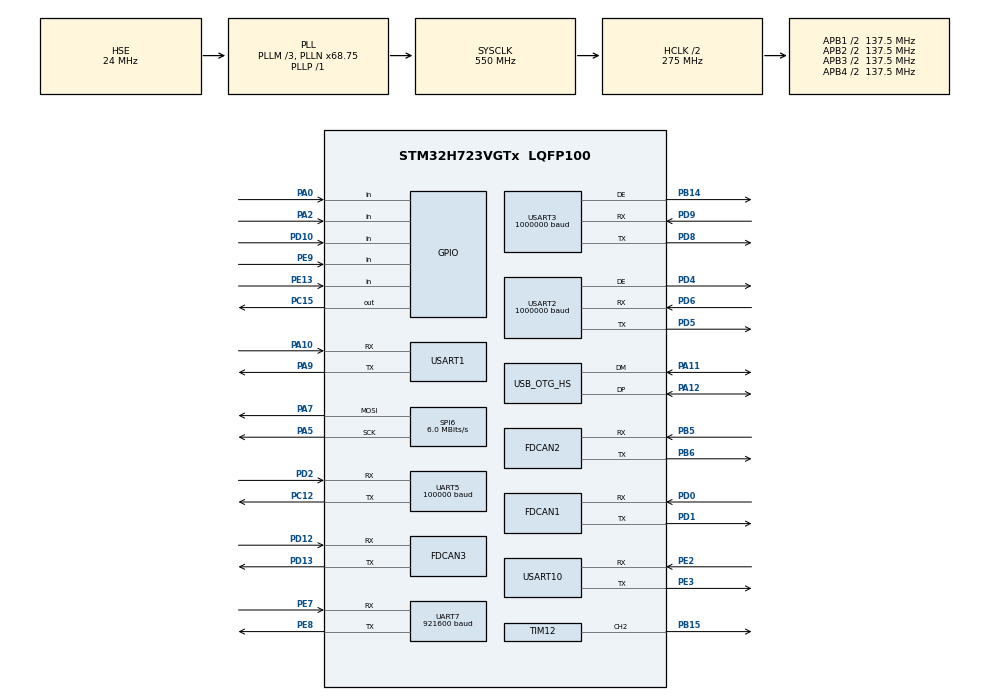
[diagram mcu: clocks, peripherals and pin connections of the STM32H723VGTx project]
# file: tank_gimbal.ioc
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CORTEX_M7.CPU_ICache=Enabled
CORTEX_M7.Enable_Spec=MPU_REGION_ENABLE
CORTEX_M7.MPU_Control=__NULL
CORTEX_M7.default_mode_Activation=1
Dma.Request0=UART5_RX
Dma.Request1=UART7_RX
Dma.Request10=USART3_TX
Dma.Request2=UART7_TX
Dma.Request3=USART1_RX
Dma.Request4=USART1_TX
Dma.Request5=USART10_RX
Dma.Request6=USART10_TX
Dma.Request7=USART2_RX
Dma.Request8=USART2_TX
Dma.Request9=USART3_RX
Dma.UART5_RX.0.Direction=DMA_PERIPH_TO_MEMORY
Dma.UART5_RX.0.EventEnable=DISABLE
Dma.UART5_RX.0.FIFOMode=DMA_FIFOMODE_DISABLE
Dma.UART5_RX.0.Instance=DMA1_Stream0
Dma.UART5_RX.0.MemDataAlignment=DMA_MDATAALIGN_BYTE
Dma.UART5_RX.0.MemInc=DMA_MINC_ENABLE
Dma.UART5_RX.0.Mode=DMA_NORMAL
Dma.UART5_RX.0.PeriphDataAlignment=DMA_PDATAALIGN_BYTE
Dma.UART5_RX.0.PeriphInc=DMA_PINC_DISABLE
Dma.UART5_RX.0.Polarity=HAL_DMAMUX_REQ_GEN_RISING
Dma.UART5_RX.0.Priority=DMA_PRIORITY_LOW
Dma.UART5_RX.0.RequestNumber=1
Dma.UART5_RX.0.SignalID=NONE
Dma.UART5_RX.0.SyncEnable=DISABLE
Dma.UART5_RX.0.SyncPolarity=HAL_DMAMUX_SYNC_NO_EVENT
Dma.UART5_RX.0.SyncRequestNumber=1
Dma.UART5_RX.0.SyncSignalID=NONE
Dma.UART7_RX.1.Direction=DMA_PERIPH_TO_MEMORY
Dma.UART7_RX.1.EventEnable=DISABLE
Dma.UART7_RX.1.FIFOMode=DMA_FIFOMODE_DISABLE
Dma.UART7_RX.1.Instance=DMA1_Stream1
Dma.UART7_RX.1.MemDataAlignment=DMA_MDATAALIGN_BYTE
Dma.UART7_RX.1.MemInc=DMA_MINC_ENABLE
Dma.UART7_RX.1.Mode=DMA_CIRCULAR
Dma.UART7_RX.1.PeriphDataAlignment=DMA_PDATAALIGN_BYTE
Dma.UART7_RX.1.PeriphInc=DMA_PINC_DISABLE
Dma.UART7_RX.1.Polarity=HAL_DMAMUX_REQ_GEN_RISING
Dma.UART7_RX.1.Priority=DMA_PRIORITY_LOW
Dma.UART7_RX.1.RequestNumber=1
Dma.UART7_RX.1.SignalID=NONE
Dma.UART7_RX.1.SyncEnable=DISABLE
Dma.UART7_RX.1.SyncPolarity=HAL_DMAMUX_SYNC_NO_EVENT
Dma.UART7_RX.1.SyncRequestNumber=1
Dma.UART7_RX.1.SyncSignalID=NONE
Dma.UART7_TX.2.Direction=DMA_MEMORY_TO_PERIPH
Dma.UART7_TX.2.EventEnable=DISABLE
Dma.UART7_TX.2.FIFOMode=DMA_FIFOMODE_DISABLE
Dma.UART7_TX.2.Instance=DMA1_Stream2
Dma.UART7_TX.2.MemDataAlignment=DMA_MDATAALIGN_BYTE
Dma.UART7_TX.2.MemInc=DMA_MINC_ENABLE
Dma.UART7_TX.2.Mode=DMA_NORMAL
Dma.UART7_TX.2.PeriphDataAlignment=DMA_PDATAALIGN_BYTE
Dma.UART7_TX.2.PeriphInc=DMA_PINC_DISABLE
Dma.UART7_TX.2.Polarity=HAL_DMAMUX_REQ_GEN_RISING
Dma.UART7_TX.2.Priority=DMA_PRIORITY_LOW
Dma.UART7_TX.2.RequestNumber=1
Dma.UART7_TX.2.SignalID=NONE
Dma.UART7_TX.2.SyncEnable=DISABLE
Dma.UART7_TX.2.SyncPolarity=HAL_DMAMUX_SYNC_NO_EVENT
Dma.UART7_TX.2.SyncRequestNumber=1
Dma.UART7_TX.2.SyncSignalID=NONE
Dma.USART10_RX.5.Direction=DMA_PERIPH_TO_MEMORY
Dma.USART10_RX.5.EventEnable=DISABLE
Dma.USART10_RX.5.FIFOMode=DMA_FIFOMODE_DISABLE
Dma.USART10_RX.5.Instance=DMA1_Stream5
Dma.USART10_RX.5.MemDataAlignment=DMA_MDATAALIGN_BYTE
Dma.USART10_RX.5.MemInc=DMA_MINC_ENABLE
Dma.USART10_RX.5.Mode=DMA_NORMAL
Dma.USART10_RX.5.PeriphDataAlignment=DMA_PDATAALIGN_BYTE
Dma.USART10_RX.5.PeriphInc=DMA_PINC_DISABLE
Dma.USART10_RX.5.Polarity=HAL_DMAMUX_REQ_GEN_RISING
Dma.USART10_RX.5.Priority=DMA_PRIORITY_LOW
Dma.USART10_RX.5.RequestNumber=1
Dma.USART10_RX.5.SignalID=NONE
Dma.USART10_RX.5.SyncEnable=DISABLE
Dma.USART10_RX.5.SyncPolarity=HAL_DMAMUX_SYNC_NO_EVENT
Dma.USART10_RX.5.SyncRequestNumber=1
Dma.USART10_RX.5.SyncSignalID=NONE
Dma.USART10_TX.6.Direction=DMA_MEMORY_TO_PERIPH
Dma.USART10_TX.6.EventEnable=DISABLE
Dma.USART10_TX.6.FIFOMode=DMA_FIFOMODE_DISABLE
Dma.USART10_TX.6.Instance=DMA1_Stream6
Dma.USART10_TX.6.MemDataAlignment=DMA_MDATAALIGN_BYTE
Dma.USART10_TX.6.MemInc=DMA_MINC_ENABLE
Dma.USART10_TX.6.Mode=DMA_NORMAL
Dma.USART10_TX.6.PeriphDataAlignment=DMA_PDATAALIGN_BYTE
Dma.USART10_TX.6.PeriphInc=DMA_PINC_DISABLE
Dma.USART10_TX.6.Polarity=HAL_DMAMUX_REQ_GEN_RISING
Dma.USART10_TX.6.Priority=DMA_PRIORITY_LOW
Dma.USART10_TX.6.RequestNumber=1
Dma.USART10_TX.6.SignalID=NONE
Dma.USART10_TX.6.SyncEnable=DISABLE
Dma.USART10_TX.6.SyncPolarity=HAL_DMAMUX_SYNC_NO_EVENT
Dma.USART10_TX.6.SyncRequestNumber=1
Dma.USART10_TX.6.SyncSignalID=NONE
Dma.USART1_RX.3.Direction=DMA_PERIPH_TO_MEMORY
Dma.USART1_RX.3.EventEnable=DISABLE
Dma.USART1_RX.3.FIFOMode=DMA_FIFOMODE_DISABLE
Dma.USART1_RX.3.Instance=DMA1_Stream3
Dma.USART1_RX.3.MemDataAlignment=DMA_MDATAALIGN_BYTE
Dma.USART1_RX.3.MemInc=DMA_MINC_ENABLE
Dma.USART1_RX.3.Mode=DMA_NORMAL
Dma.USART1_RX.3.PeriphDataAlignment=DMA_PDATAALIGN_BYTE
Dma.USART1_RX.3.PeriphInc=DMA_PINC_DISABLE
Dma.USART1_RX.3.Polarity=HAL_DMAMUX_REQ_GEN_RISING
Dma.USART1_RX.3.Priority=DMA_PRIORITY_LOW
Dma.USART1_RX.3.RequestNumber=1
Dma.USART1_RX.3.SignalID=NONE
Dma.USART1_RX.3.SyncEnable=DISABLE
Dma.USART1_RX.3.SyncPolarity=HAL_DMAMUX_SYNC_NO_EVENT
Dma.USART1_RX.3.SyncRequestNumber=1
Dma.USART1_RX.3.SyncSignalID=NONE
Dma.USART1_TX.4.Direction=DMA_MEMORY_TO_PERIPH
Dma.USART1_TX.4.EventEnable=DISABLE
Dma.USART1_TX.4.FIFOMode=DMA_FIFOMODE_DISABLE
Dma.USART1_TX.4.Instance=DMA1_Stream4
Dma.USART1_TX.4.MemDataAlignment=DMA_MDATAALIGN_BYTE
Dma.USART1_TX.4.MemInc=DMA_MINC_ENABLE
Dma.USART1_TX.4.Mode=DMA_NORMAL
Dma.USART1_TX.4.PeriphDataAlignment=DMA_PDATAALIGN_BYTE
Dma.USART1_TX.4.PeriphInc=DMA_PINC_DISABLE
Dma.USART1_TX.4.Polarity=HAL_DMAMUX_REQ_GEN_RISING
Dma.USART1_TX.4.Priority=DMA_PRIORITY_LOW
Dma.USART1_TX.4.RequestNumber=1
Dma.USART1_TX.4.SignalID=NONE
Dma.USART1_TX.4.SyncEnable=DISABLE
Dma.USART1_TX.4.SyncPolarity=HAL_DMAMUX_SYNC_NO_EVENT
Dma.USART1_TX.4.SyncRequestNumber=1
Dma.USART1_TX.4.SyncSignalID=NONE
Dma.USART2_RX.7.Direction=DMA_PERIPH_TO_MEMORY
Dma.USART2_RX.7.EventEnable=DISABLE
Dma.USART2_RX.7.FIFOMode=DMA_FIFOMODE_DISABLE
Dma.USART2_RX.7.Instance=DMA1_Stream7
Dma.USART2_RX.7.MemDataAlignment=DMA_MDATAALIGN_BYTE
Dma.USART2_RX.7.MemInc=DMA_MINC_ENABLE
Dma.USART2_RX.7.Mode=DMA_NORMAL
Dma.USART2_RX.7.PeriphDataAlignment=DMA_PDATAALIGN_BYTE
Dma.USART2_RX.7.PeriphInc=DMA_PINC_DISABLE
Dma.USART2_RX.7.Polarity=HAL_DMAMUX_REQ_GEN_RISING
Dma.USART2_RX.7.Priority=DMA_PRIORITY_LOW
Dma.USART2_RX.7.RequestNumber=1
Dma.USART2_RX.7.SignalID=NONE
Dma.USART2_RX.7.SyncEnable=DISABLE
Dma.USART2_RX.7.SyncPolarity=HAL_DMAMUX_SYNC_NO_EVENT
Dma.USART2_RX.7.SyncRequestNumber=1
Dma.USART2_RX.7.SyncSignalID=NONE
Dma.USART2_TX.8.Direction=DMA_MEMORY_TO_PERIPH
Dma.USART2_TX.8.EventEnable=DISABLE
Dma.USART2_TX.8.FIFOMode=DMA_FIFOMODE_DISABLE
Dma.USART2_TX.8.Instance=DMA2_Stream0
Dma.USART2_TX.8.MemDataAlignment=DMA_MDATAALIGN_BYTE
Dma.USART2_TX.8.MemInc=DMA_MINC_ENABLE
Dma.USART2_TX.8.Mode=DMA_NORMAL
Dma.USART2_TX.8.PeriphDataAlignment=DMA_PDATAALIGN_BYTE
Dma.USART2_TX.8.PeriphInc=DMA_PINC_DISABLE
Dma.USART2_TX.8.Polarity=HAL_DMAMUX_REQ_GEN_RISING
Dma.USART2_TX.8.Priority=DMA_PRIORITY_LOW
Dma.USART2_TX.8.RequestNumber=1
Dma.USART2_TX.8.SignalID=NONE
Dma.USART2_TX.8.SyncEnable=DISABLE
Dma.USART2_TX.8.SyncPolarity=HAL_DMAMUX_SYNC_NO_EVENT
Dma.USART2_TX.8.SyncRequestNumber=1
Dma.USART2_TX.8.SyncSignalID=NONE
Dma.USART3_RX.9.Direction=DMA_PERIPH_TO_MEMORY
Dma.USART3_RX.9.EventEnable=DISABLE
Dma.USART3_RX.9.FIFOMode=DMA_FIFOMODE_DISABLE
Dma.USART3_RX.9.Instance=DMA2_Stream1
Dma.USART3_RX.9.MemDataAlignment=DMA_MDATAALIGN_BYTE
Dma.USART3_RX.9.MemInc=DMA_MINC_ENABLE
Dma.USART3_RX.9.Mode=DMA_NORMAL
Dma.USART3_RX.9.PeriphDataAlignment=DMA_PDATAALIGN_BYTE
Dma.USART3_RX.9.PeriphInc=DMA_PINC_DISABLE
Dma.USART3_RX.9.Polarity=HAL_DMAMUX_REQ_GEN_RISING
Dma.USART3_RX.9.Priority=DMA_PRIORITY_LOW
Dma.USART3_RX.9.RequestNumber=1
Dma.USART3_RX.9.SignalID=NONE
Dma.USART3_RX.9.SyncEnable=DISABLE
Dma.USART3_RX.9.SyncPolarity=HAL_DMAMUX_SYNC_NO_EVENT
Dma.USART3_RX.9.SyncRequestNumber=1
Dma.USART3_RX.9.SyncSignalID=NONE
Dma.USART3_TX.10.Direction=DMA_MEMORY_TO_PERIPH
Dma.USART3_TX.10.EventEnable=DISABLE
Dma.USART3_TX.10.FIFOMode=DMA_FIFOMODE_DISABLE
Dma.USART3_TX.10.Instance=DMA2_Stream2
Dma.USART3_TX.10.MemDataAlignment=DMA_MDATAALIGN_BYTE
Dma.USART3_TX.10.MemInc=DMA_MINC_ENABLE
Dma.USART3_TX.10.Mode=DMA_NORMAL
Dma.USART3_TX.10.PeriphDataAlignment=DMA_PDATAALIGN_BYTE
Dma.USART3_TX.10.PeriphInc=DMA_PINC_DISABLE
Dma.USART3_TX.10.Polarity=HAL_DMAMUX_REQ_GEN_RISING
Dma.USART3_TX.10.Priority=DMA_PRIORITY_LOW
Dma.USART3_TX.10.RequestNumber=1
Dma.USART3_TX.10.SignalID=NONE
Dma.USART3_TX.10.SyncEnable=DISABLE
Dma.USART3_TX.10.SyncPolarity=HAL_DMAMUX_SYNC_NO_EVENT
Dma.USART3_TX.10.SyncRequestNumber=1
Dma.USART3_TX.10.SyncSignalID=NONE
FDCAN1.AutoRetransmission=ENABLE
FDCAN1.CalculateBaudRateNominal=1000000
FDCAN1.CalculateTimeBitNominal=1000
FDCAN1.CalculateTimeQuantumNominal=25.0
FDCAN1.DataPrescaler=3
FDCAN1.DataSyncJumpWidth=10
FDCAN1.DataTimeSeg1=29
FDCAN1.DataTimeSeg2=10
FDCAN1.NominalPrescaler=3
FDCAN1.NominalSyncJumpWidth=10
FDCAN1.NominalTimeSeg1=29
FDCAN1.NominalTimeSeg2=10
FDCAN1.RxFifo0ElmtsNbr=16
FDCAN1.StdFiltersNbr=1
FDCAN1.TxFifoQueueElmtsNbr=8
FDCAN2.AutoRetransmission=ENABLE
FDCAN2.CalculateBaudRateNominal=1000000
FDCAN2.CalculateTimeBitNominal=1000
FDCAN2.CalculateTimeQuantumNominal=25.0
FDCAN2.DataPrescaler=3
FDCAN2.DataSyncJumpWidth=10
FDCAN2.DataTimeSeg1=29
FDCAN2.DataTimeSeg2=10
FDCAN2.MessageRAMOffset=853
FDCAN2.NominalPrescaler=3
FDCAN2.NominalSyncJumpWidth=10
FDCAN2.NominalTimeSeg1=29
FDCAN2.NominalTimeSeg2=10
FDCAN2.RxFifo0ElmtsNbr=16
FDCAN2.StdFiltersNbr=1
FDCAN2.TxFifoQueueElmtsNbr=8
FDCAN3.AutoRetransmission=ENABLE
FDCAN3.CalculateBaudRateNominal=1000000
FDCAN3.CalculateTimeBitNominal=1000
FDCAN3.CalculateTimeQuantumNominal=25.0
FDCAN3.DataPrescaler=3
FDCAN3.DataSyncJumpWidth=10
FDCAN3.DataTimeSeg1=29
FDCAN3.DataTimeSeg2=10
FDCAN3.MessageRAMOffset=1706
FDCAN3.NominalPrescaler=3
FDCAN3.NominalSyncJumpWidth=10
FDCAN3.NominalTimeSeg1=29
FDCAN3.NominalTimeSeg2=10
FDCAN3.RxFifo0ElmtsNbr=16
FDCAN3.StdFiltersNbr=1
FDCAN3.TxFifoQueueElmtsNbr=8
FREERTOS.Tasks01=defaultTask,24,128,StartDefaultTask,Default,NULL,Dynamic,NULL,NULL
FREERTOS.configTOTAL_HEAP_SIZE=32768
IWDG1.Prescaler=IWDG_PRESCALER_32
IWDG1.Reload=999
Mcu.Family=STM32H7
Mcu.Name=STM32H723VGTx
Mcu.Package=LQFP100
NVIC.DMA1_Stream0_IRQn=true\:5\:0\:false\:false\:true\:true\:false\:true\:true
NVIC.DMA1_Stream1_IRQn=true\:5\:0\:false\:false\:true\:true\:false\:true\:true
NVIC.DMA1_Stream2_IRQn=true\:5\:0\:false\:false\:true\:true\:false\:true\:true
NVIC.DMA1_Stream3_IRQn=true\:5\:0\:false\:false\:true\:true\:false\:true\:true
NVIC.DMA1_Stream4_IRQn=true\:5\:0\:false\:false\:true\:true\:false\:true\:true
NVIC.DMA1_Stream5_IRQn=true\:5\:0\:false\:false\:true\:true\:false\:true\:true
NVIC.DMA1_Stream6_IRQn=true\:5\:0\:false\:false\:true\:true\:false\:true\:true
NVIC.DMA1_Stream7_IRQn=true\:5\:0\:false\:false\:true\:true\:false\:true\:true
NVIC.DMA2_Stream0_IRQn=true\:5\:0\:false\:false\:true\:true\:false\:true\:true
NVIC.DMA2_Stream1_IRQn=true\:5\:0\:false\:false\:true\:true\:false\:true\:true
NVIC.DMA2_Stream2_IRQn=true\:5\:0\:false\:false\:true\:true\:false\:true\:true
NVIC.FDCAN1_IT0_IRQn=true\:5\:0\:false\:false\:true\:true\:true\:true\:true
NVIC.FDCAN1_IT1_IRQn=true\:5\:0\:false\:false\:true\:true\:true\:true\:true
NVIC.FDCAN2_IT0_IRQn=true\:5\:0\:false\:false\:true\:true\:true\:true\:true
NVIC.FDCAN2_IT1_IRQn=true\:5\:0\:false\:false\:true\:true\:true\:true\:true
NVIC.FDCAN3_IT0_IRQn=true\:5\:0\:false\:false\:true\:true\:true\:true\:true
NVIC.FDCAN3_IT1_IRQn=true\:5\:0\:false\:false\:true\:true\:true\:true\:true
NVIC.OTG_HS_IRQn=true\:5\:0\:false\:false\:true\:true\:false\:true\:true
NVIC.PriorityGroup=NVIC_PRIORITYGROUP_4
NVIC.SPI6_IRQn=true\:5\:0\:false\:false\:true\:true\:true\:true\:true
NVIC.TIM23_IRQn=true\:15\:0\:false\:false\:true\:false\:false\:true\:true
NVIC.TimeBase=TIM23_IRQn
NVIC.TimeBaseIP=TIM23
NVIC.UART5_IRQn=true\:5\:0\:false\:false\:true\:true\:true\:true\:true
NVIC.UART7_IRQn=true\:5\:0\:false\:false\:true\:true\:true\:true\:true
NVIC.USART10_IRQn=true\:5\:0\:false\:false\:true\:true\:true\:true\:true
NVIC.USART1_IRQn=true\:5\:0\:false\:false\:true\:true\:true\:true\:true
NVIC.USART2_IRQn=true\:5\:0\:false\:false\:true\:true\:true\:true\:true
NVIC.USART3_IRQn=true\:5\:0\:false\:false\:true\:true\:true\:true\:true
PA0.GPIO_PuPd=GPIO_PULLUP
PA0.Signal=GPIO_Input
PA10.Mode=Asynchronous
PA10.Signal=USART1_RX
PA11.Mode=Device_Only_FS
PA11.Signal=USB_OTG_HS_DM
PA12.Mode=Device_Only_FS
PA12.Signal=USB_OTG_HS_DP
PA13(JTMS/SWDIO).Mode=Serial_Wire
PA13(JTMS/SWDIO).Signal=DEBUG_JTMS-SWDIO
PA14(JTCK/SWCLK).Mode=Serial_Wire
PA14(JTCK/SWCLK).Signal=DEBUG_JTCK-SWCLK
PA2.GPIO_PuPd=GPIO_PULLUP
PA2.Signal=GPIO_Input
PA5.Mode=TX_Only_Simplex_Unidirect_Master
PA5.Signal=SPI6_SCK
PA7.GPIO_PuPd=GPIO_PULLDOWN
PA7.GPIO_Speed=GPIO_SPEED_FREQ_VERY_HIGH
PA7.Mode=TX_Only_Simplex_Unidirect_Master
PA7.Signal=SPI6_MOSI
PA9.Mode=Asynchronous
PA9.Signal=USART1_TX
PB14.Mode=Hardware Flow Control (RS485)
PB14.Signal=USART3_DE
PB15.Signal=S_TIM12_CH2
PB5.Mode=FDCAN_Activate
PB5.Signal=FDCAN2_RX
PB6.Mode=FDCAN_Activate
PB6.Signal=FDCAN2_TX
PC12.Mode=Asynchronous
PC12.Signal=UART5_TX
PC15-OSC32_OUT.PinState=GPIO_PIN_SET
PC15-OSC32_OUT.Signal=GPIO_Output
PD0.Mode=FDCAN_Activate
PD0.Signal=FDCAN1_RX
PD1.Mode=FDCAN_Activate
PD1.Signal=FDCAN1_TX
PD10.GPIO_PuPd=GPIO_PULLUP
PD10.Signal=GPIO_Input
PD12.Mode=FDCAN_Activate
PD12.Signal=FDCAN3_RX
PD13.Mode=FDCAN_Activate
PD13.Signal=FDCAN3_TX
PD2.Mode=Asynchronous
PD2.Signal=UART5_RX
PD4.Mode=Hardware Flow Control (RS485)
PD4.Signal=USART2_DE
PD5.Mode=Asynchronous
PD5.Signal=USART2_TX
PD6.Mode=Asynchronous
PD6.Signal=USART2_RX
PD8.Mode=Asynchronous
PD8.Signal=USART3_TX
PD9.Mode=Asynchronous
PD9.Signal=USART3_RX
PE13.GPIO_PuPd=GPIO_PULLUP
PE13.Signal=GPIO_Input
PE2.Mode=Asynchronous
PE2.Signal=USART10_RX
PE3.Mode=Asynchronous
PE3.Signal=USART10_TX
PE7.Mode=Asynchronous
PE7.Signal=UART7_RX
PE8.Mode=Asynchronous
PE8.Signal=UART7_TX
PE9.GPIO_PuPd=GPIO_PULLUP
PE9.Signal=GPIO_Input
PH0-OSC_IN.Mode=HSE-External-Oscillator
PH0-OSC_IN.Signal=RCC_OSC_IN
PH1-OSC_OUT.Mode=HSE-External-Oscillator
PH1-OSC_OUT.Signal=RCC_OSC_OUT
ProjectManager.HeapSize=0x20000
ProjectManager.StackSize=0x10000
ProjectManager.TargetToolchain=MDK-ARM V5.32
RCC.ADCFreq_Value=240000000
RCC.APB1Freq_Value=137500000
RCC.APB2Freq_Value=137500000
RCC.APB3Freq_Value=137500000
RCC.APB4Freq_Value=137500000
RCC.CortexFreq_Value=550000000
RCC.D1PPRE=RCC_APB3_DIV2
RCC.D2PPRE1=RCC_APB1_DIV2
RCC.D2PPRE2=RCC_APB2_DIV2
RCC.D3PPRE=RCC_APB4_DIV2
RCC.DIVM1=3
RCC.DIVM2=3
RCC.DIVN1=68
RCC.DIVN2=60
RCC.DIVP1=1
RCC.DIVQ1=4
RCC.DIVQ2=4
RCC.FDCANCLockSelection=RCC_FDCANCLKSOURCE_PLL2
RCC.HCLKFreq_Value=275000000
RCC.HPRE=RCC_HCLK_DIV2
RCC.HSE_VALUE=24000000
RCC.PLLFRACN=6144
RCC.PLLSourceVirtual=RCC_PLLSOURCE_HSE
RCC.SPI6CLockSelection=RCC_SPI6CLKSOURCE_HSE
RCC.SYSCLKFreq_VALUE=550000000
RCC.SYSCLKSource=RCC_SYSCLKSOURCE_PLLCLK
RCC.USBCLockSelection=RCC_USBCLKSOURCE_HSI48
RCC.USBFreq_Value=48000000
SH.S_TIM12_CH2.0=TIM12_CH2,PWM Generation2 CH2
SPI6.BaudRatePrescaler=SPI_BAUDRATEPRESCALER_4
SPI6.CalculateBaudRate=6.0 MBits/s
SPI6.DataSize=SPI_DATASIZE_8BIT
SPI6.Direction=SPI_DIRECTION_2LINES_TXONLY
SPI6.Mode=SPI_MODE_MASTER
SPI6.VirtualType=VM_MASTER
TIM12.Channel-PWM\ Generation2\ CH2=TIM_CHANNEL_2
TIM12.Period=250-1
TIM12.Prescaler=275-1
TIM12.Pulse-PWM\ Generation2\ CH2=0
UART5.BaudRate=100000
UART5.Mode=MODE_TX_RX
UART5.Parity=PARITY_EVEN
UART5.StopBits=UART_STOPBITS_2
UART5.WordLength=WORDLENGTH_9B
UART7.BaudRate=921600
USART1.VirtualMode-Asynchronous=VM_ASYNC
USART10.VirtualMode=VM_ASYNC
USART2.BaudRate=1000000
USART2.VirtualMode-Asynchronous=VM_ASYNC
USART2.VirtualMode-Hardware\ Flow\ Control\ (RS485)=VM_ASYNC
USART3.BaudRate=1000000
USART3.VirtualMode-Asynchronous=VM_ASYNC
USART3.VirtualMode-Hardware\ Flow\ Control\ (RS485)=VM_ASYNC
USB_DEVICE.CLASS_NAME_HS=CDC
USB_DEVICE.VirtualMode=Cdc
USB_DEVICE.VirtualModeHS=Cdc_HS
USB_OTG_HS.VirtualMode-Device_Only_FS=Device_Only_FS
VP_FREERTOS_VS_CMSIS_V2.Mode=CMSIS_V2
VP_IWDG1_VS_IWDG.Mode=IWDG_Activate
VP_MEMORYMAP_VS_MEMORYMAP.Mode=CurAppReg
VP_SYS_VS_tim23.Mode=TIM23
VP_TIM12_VS_ClockSourceINT.Mode=Internal
VP_TIM6_VS_ClockSourceINT.Mode=Enable_Timer
VP_USB_DEVICE_VS_USB_DEVICE_CDC_HS.Mode=CDC_HS
board=custom

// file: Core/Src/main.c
/* USER CODE BEGIN Header */
/**
  ******************************************************************************
  * @file           : main.c
  * @brief          : Main program body
  ******************************************************************************
  * @attention
  *
  * Copyright (c) 2026 STMicroelectronics.
  * All rights reserved.
  *
  * This software is licensed under terms that can be found in the LICENSE file
  * in the root directory of this software component.
  * If no LICENSE file comes with this software, it is provided AS-IS.
  *
  ******************************************************************************
  */
/* USER CODE END Header */
#include "main.h"
#include "cmsis_os.h"
#include "dma.h"
#include "fdcan.h"
#include "iwdg.h"
#include "spi.h"
#include "tim.h"
#include "usart.h"
#include "usb_device.h"
#include "gpio.h"

/* USER CODE BEGIN PV */
volatile uint32_t g_watchdog_reset_detected = 0;
volatile uint32_t g_watchdog_rearm_required = 0;

/* USER CODE END PV */

void SystemClock_Config(void);
void PeriphCommonClock_Config(void);
void MX_FREERTOS_Init(void);

/* USER CODE BEGIN 0 */

/* SPI6 初始化完成后调用，发送一次颜色数据，板载灯保持低亮度绿色。 */
static void Board_LED_Init(void)
{
  /* SPI6 为 6 Mbit/s，WS2812 按 G、R、B 顺序接收。 */
  uint8_t led_tx[256 + 24 + 256] = {0};
  const uint8_t led_grb[3] = {16, 0, 0};
  uint16_t led_index = 256;

  for (uint8_t color = 0; color < 3; ++color)
  {
    for (uint8_t mask = 0x80; mask != 0; mask >>= 1)
    {
      /* 每位约 1.333 us：0 高电平约 0.333 us，1 高电平约 0.833 us。 */
      led_tx[led_index++] = (led_grb[color] & mask) ? 0xF8 : 0xC0;
    }
  }
  /* 帧前、帧后各约 341 us 低电平，用于复位和锁存颜色。 */
  if (HAL_SPI_Transmit(&hspi6, led_tx, sizeof(led_tx), 20) != HAL_OK)
  {
    Error_Handler();
  }
}

/* USER CODE END 0 */

int main(void)
{

  /* Enable the CPU Cache */

  /* Enable I-Cache---------------------------------------------------------*/
  SCB_EnableICache();

  /* MCU Configuration--------------------------------------------------------*/

  /* Reset of all peripherals, Initializes the Flash interface and the Systick. */
  HAL_Init();

  /* USER CODE BEGIN Init */
  g_watchdog_reset_detected = (__HAL_RCC_GET_FLAG(RCC_FLAG_IWDG1RST) != RESET) ? 1U : 0U;
  g_watchdog_rearm_required = g_watchdog_reset_detected;
  __HAL_RCC_CLEAR_RESET_FLAGS();

  /* USER CODE END Init */

  /* Configure the system clock */
  SystemClock_Config();

  /* Configure the peripherals common clocks */
  PeriphCommonClock_Config();

  /* Initialize all configured peripherals */
  MX_GPIO_Init();
  MX_DMA_Init();
  MX_FDCAN1_Init();
  MX_FDCAN2_Init();
  MX_FDCAN3_Init();
  MX_TIM6_Init();
  MX_UART5_Init();
  MX_UART7_Init();
  MX_USART1_UART_Init();
  MX_USART10_UART_Init();
  MX_USART2_UART_Init();
  MX_USART3_UART_Init();
  MX_TIM12_Init();
  MX_SPI6_Init();
  MX_IWDG1_Init();
  /* USER CODE BEGIN 2 */
  Board_LED_Init();

  /* USER CODE END 2 */

  /* Init scheduler */
  osKernelInitialize();  /* Call init function for freertos objects (in cmsis_os2.c) */
  MX_FREERTOS_Init();

  /* Start scheduler */
  osKernelStart();

  /* We should never get here as control is now taken by the scheduler */

  /* Infinite loop */
  while (1)
  {

  }
}

void SystemClock_Config(void)
{
  RCC_OscInitTypeDef RCC_OscInitStruct = {0};
  RCC_ClkInitTypeDef RCC_ClkInitStruct = {0};

  /** Supply configuration update enable
  */
  HAL_PWREx_ConfigSupply(PWR_LDO_SUPPLY);

  /** Configure the main internal regulator output voltage
  */
  __HAL_PWR_VOLTAGESCALING_CONFIG(PWR_REGULATOR_VOLTAGE_SCALE0);

  while(!__HAL_PWR_GET_FLAG(PWR_FLAG_VOSRDY)) {}

  /** Initializes the RCC Oscillators according to the specified parameters
  * in the RCC_OscInitTypeDef structure.
  */
  RCC_OscInitStruct.OscillatorType = RCC_OSCILLATORTYPE_HSI48|RCC_OSCILLATORTYPE_LSI
                              |RCC_OSCILLATORTYPE_HSE;
  RCC_OscInitStruct.HSEState = RCC_HSE_ON;
  RCC_OscInitStruct.LSIState = RCC_LSI_ON;
  RCC_OscInitStruct.HSI48State = RCC_HSI48_ON;
  RCC_OscInitStruct.PLL.PLLState = RCC_PLL_ON;
  RCC_OscInitStruct.PLL.PLLSource = RCC_PLLSOURCE_HSE;
  RCC_OscInitStruct.PLL.PLLM = 3;
  RCC_OscInitStruct.PLL.PLLN = 68;
  RCC_OscInitStruct.PLL.PLLP = 1;
  RCC_OscInitStruct.PLL.PLLQ = 4;
  RCC_OscInitStruct.PLL.PLLR = 2;
  RCC_OscInitStruct.PLL.PLLRGE = RCC_PLL1VCIRANGE_3;
  RCC_OscInitStruct.PLL.PLLVCOSEL = RCC_PLL1VCOWIDE;
  RCC_OscInitStruct.PLL.PLLFRACN = 6144;
  if (HAL_RCC_OscConfig(&RCC_OscInitStruct) != HAL_OK)
  {
    Error_Handler();
  }

  /** Initializes the CPU, AHB and APB buses clocks
  */
  RCC_ClkInitStruct.ClockType = RCC_CLOCKTYPE_HCLK|RCC_CLOCKTYPE_SYSCLK
                              |RCC_CLOCKTYPE_PCLK1|RCC_CLOCKTYPE_PCLK2
                              |RCC_CLOCKTYPE_D3PCLK1|RCC_CLOCKTYPE_D1PCLK1;
  RCC_ClkInitStruct.SYSCLKSource = RCC_SYSCLKSOURCE_PLLCLK;
  RCC_ClkInitStruct.SYSCLKDivider = RCC_SYSCLK_DIV1;
  RCC_ClkInitStruct.AHBCLKDivider = RCC_HCLK_DIV2;
  RCC_ClkInitStruct.APB3CLKDivider = RCC_APB3_DIV2;
  RCC_ClkInitStruct.APB1CLKDivider = RCC_APB1_DIV2;
  RCC_ClkInitStruct.APB2CLKDivider = RCC_APB2_DIV2;
  RCC_ClkInitStruct.APB4CLKDivider = RCC_APB4_DIV2;

  if (HAL_RCC_ClockConfig(&RCC_ClkInitStruct, FLASH_LATENCY_3) != HAL_OK)
  {
    Error_Handler();
  }
}

void PeriphCommonClock_Config(void)
{
  RCC_PeriphCLKInitTypeDef PeriphClkInitStruct = {0};

  /** Initializes the peripherals clock
  */
  PeriphClkInitStruct.PeriphClockSelection = RCC_PERIPHCLK_FDCAN;
  PeriphClkInitStruct.PLL2.PLL2M = 3;
  PeriphClkInitStruct.PLL2.PLL2N = 60;
  PeriphClkInitStruct.PLL2.PLL2P = 2;
  PeriphClkInitStruct.PLL2.PLL2Q = 4;
  PeriphClkInitStruct.PLL2.PLL2R = 2;
  PeriphClkInitStruct.PLL2.PLL2RGE = RCC_PLL2VCIRANGE_3;
  PeriphClkInitStruct.PLL2.PLL2VCOSEL = RCC_PLL2VCOWIDE;
  PeriphClkInitStruct.PLL2.PLL2FRACN = 0;
  PeriphClkInitStruct.FdcanClockSelection = RCC_FDCANCLKSOURCE_PLL2;
  if (HAL_RCCEx_PeriphCLKConfig(&PeriphClkInitStruct) != HAL_OK)
  {
    Error_Handler();
  }
}

void HAL_TIM_PeriodElapsedCallback(TIM_HandleTypeDef *htim)
{
  if (htim->Instance == TIM23)
  {
    HAL_IncTick();
  }
}

void Error_Handler(void)
{
  __disable_irq();
  while (1)
  {
  }
}

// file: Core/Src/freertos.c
/* USER CODE BEGIN Header */
/**
  ******************************************************************************
  * File Name          : freertos.c
  * Description        : Code for freertos applications
  ******************************************************************************
  * @attention
  *
  * Copyright (c) 2026 STMicroelectronics.
  * All rights reserved.
  *
  * This software is licensed under terms that can be found in the LICENSE file
  * in the root directory of this software component.
  * If no LICENSE file comes with this software, it is provided AS-IS.
  *
  ******************************************************************************
  */
/* USER CODE END Header */

#include "FreeRTOS.h"
#include "task.h"
#include "main.h"
#include "cmsis_os.h"

/* USER CODE BEGIN Includes */
#include "can_send_task.hpp"
#include "gimbal_task.hpp"
#include "remote_control_task.hpp"
#include "gantry_task.hpp"
#include "usb_device.h"
#include "watchdog_heartbeat.h"
#include "iwdg.h"
/* USER CODE END Includes */

/* USER CODE BEGIN PD */

/***************************
 * 看门狗管理任务约每 30 ms 检查一次。
管理任务开始运行后，最多给关键任务 3 秒启动时间。
进入正常监控后，任一心跳连续约 200 ms 没有推进，就判定异常。
 */
#define WATCHDOG_CHECK_PERIOD_MS 30U
#define WATCHDOG_STARTUP_TIMEOUT_MS 3000U
#define WATCHDOG_HEARTBEAT_TIMEOUT_MS 200U

/* USER CODE END PD */

/* USER CODE BEGIN Variables */
volatile uint32_t g_watchdog_heartbeats[WATCHDOG_TASK_COUNT] = {0};

/* USER CODE END Variables */
/* Definitions for defaultTask */
osThreadId_t defaultTaskHandle;
const osThreadAttr_t defaultTask_attributes = {
  .name = "defaultTask",
  .stack_size = 128 * 4,
  .priority = (osPriority_t) osPriorityNormal,
};

/* USER CODE BEGIN FunctionPrototypes */
TaskHandle_t xRemoteHandle;
TaskHandle_t xCanSendHandle;
TaskHandle_t xGimbalHandle;
TaskHandle_t xGantryHandle;

static void watchdog_task(void *argument);

extern void MX_USB_DEVICE_Init(void);

/* USER CODE END FunctionPrototypes */

void StartDefaultTask(void *argument);

extern void MX_USB_DEVICE_Init(void);
void MX_FREERTOS_Init(void); /* (MISRA C 2004 rule 8.1) */

void MX_FREERTOS_Init(void) {

  /* Create the thread(s) */
  /* creation of defaultTask */
  defaultTaskHandle = osThreadNew(StartDefaultTask, NULL, &defaultTask_attributes);

  /* USER CODE BEGIN RTOS_THREADS */
  /* add threads, ... */
  /* USB is initialized by defaultTask after the scheduler starts. */
  if (defaultTaskHandle == NULL ||
      xTaskCreate(can_send_task, "CAN_Send_Task", 2048, NULL, osPriorityAboveNormal+2, &xCanSendHandle) != pdPASS ||
      xTaskCreate(gimbal_task, "Gimbal_Task", 1024, NULL, osPriorityAboveNormal+1, &xGimbalHandle) != pdPASS ||
      xTaskCreate(remote_control_task, "Remote_Control_Task", 512, NULL, osPriorityAboveNormal, &xRemoteHandle) != pdPASS ||
      xTaskCreate(gantry_task, "Gantry_Task", 128, NULL, osPriorityAboveNormal, &xGantryHandle) != pdPASS ||
      xTaskCreate(watchdog_task, "Watchdog_Task", 128, NULL, osPriorityAboveNormal+3, NULL) != pdPASS)
  {
    Error_Handler();
  }

  /* USER CODE END RTOS_THREADS */

}

void StartDefaultTask(void *argument)
{
  /* init code for USB_DEVICE */
  MX_USB_DEVICE_Init();
  /* USER CODE BEGIN StartDefaultTask */
  /* Infinite loop */
  for(;;)
  {
    osThreadExit();
  }
  /* USER CODE END StartDefaultTask */
}

/* USER CODE BEGIN Application */
void Watchdog_RecordHeartbeat(WatchdogTask task)
{
  taskENTER_CRITICAL();
  ++g_watchdog_heartbeats[task];
  taskEXIT_CRITICAL();
}

static void watchdog_task(void *argument)
{
  const TickType_t start = xTaskGetTickCount();
  uint32_t previous[WATCHDOG_TASK_COUNT] = {0};
  TickType_t last_change[WATCHDOG_TASK_COUNT] = {0};
  uint32_t seen = 0;
  uint8_t running = 0;
  uint8_t failed = 0;
  (void)argument;
  for (;;)
  {
    const TickType_t now = xTaskGetTickCount();
    uint32_t snapshot[WATCHDOG_TASK_COUNT];
    uint8_t healthy = 1;
    taskENTER_CRITICAL();
    for (unsigned i = 0; i < WATCHDOG_TASK_COUNT; ++i)
      snapshot[i] = g_watchdog_heartbeats[i];
    taskEXIT_CRITICAL();

    for (unsigned i = 0; i < WATCHDOG_TASK_COUNT; ++i)
    {
      if (snapshot[i] != previous[i])
      {
        previous[i] = snapshot[i];
        last_change[i] = now;
        seen |= (1UL << i);
      }
      if ((seen & (1UL << i)) == 0U ||
          (TickType_t)(now - last_change[i]) >= pdMS_TO_TICKS(WATCHDOG_HEARTBEAT_TIMEOUT_MS))
        healthy = 0;
    }

    if (!failed)
    {
      if (!running)
      {
        if ((TickType_t)(now - start) >= pdMS_TO_TICKS(WATCHDOG_STARTUP_TIMEOUT_MS))
          failed = 1;
        else if (healthy)
          running = 1;
      }
      else if (!healthy)
        failed = 1;

      if (!failed && HAL_IWDG_Refresh(&hiwdg1) != HAL_OK)
        failed = 1;
    }
    vTaskDelay(pdMS_TO_TICKS(WATCHDOG_CHECK_PERIOD_MS));
  }
}

/* USER CODE END Application */
